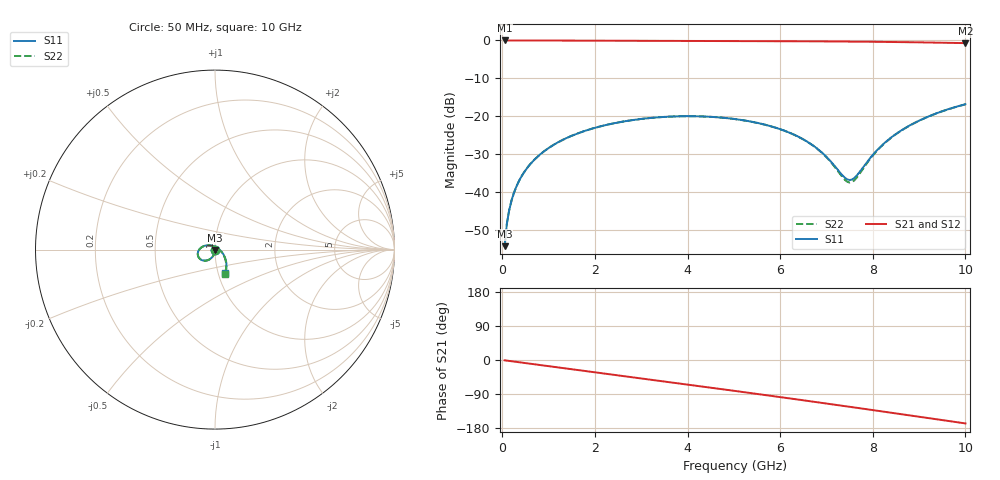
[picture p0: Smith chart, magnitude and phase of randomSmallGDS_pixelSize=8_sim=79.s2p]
! freq	dB(S11)	phase(S11)	dB(S12)	phase(S12)
!  dB(S21)	phase(S21)	dB(S22)	phase(S22)
!S-par simulation data
#  GHz  S  DB  R 50
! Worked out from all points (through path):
!   200 points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, 50 MHz to 10 GHz, reference 50 ohm
!   highest |S21| = 0.00 dB at 50 MHz (marker M1); lowest = -0.7 dB at 10 GHz (marker M2)
!   group delay of S21, straight-line fit = 46.3 ps
!   lowest |S11| = -54.1 dB at 50 MHz (marker M3), VSWR 1.00, Z = 50 - j0.196 ohm
!   |S11| at or under -10 dB: start of sweep to end of sweep
!   |S22| runs from -54.1 to -16.8 dB; largest |S21 - S12| = 0
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0.05  -54.14 -90.4  -0.00 -0.8  -0.00 -0.8  -54.13 -90.4
0.1  -48.12 -91.6  -0.00 -1.7  -0.00 -1.7  -48.11 -91.6
0.15  -44.60 -92.6  -0.01 -2.5  -0.01 -2.5  -44.59 -92.6
0.2  -42.10 -93.6  -0.01 -3.3  -0.01 -3.3  -42.09 -93.5
0.35  -37.24 -96.3  -0.01 -5.7  -0.01 -5.7  -37.24 -96.3
0.5  -34.17 -98.9  -0.01 -8.2  -0.01 -8.2  -34.17 -98.9
0.7  -31.29 -102.3  -0.02 -11.4  -0.02 -11.4  -31.29 -102.3
1  -28.31 -107.3  -0.02 -16.3  -0.02 -16.3  -28.31 -107.3
1.75  -23.94 -119.8  -0.05 -28.4  -0.05 -28.4  -23.94 -119.7
2.5  -21.58 -132.2  -0.07 -40.5  -0.07 -40.5  -21.59 -132.1
3.4  -20.20 -147.2  -0.10 -55.1  -0.10 -55.1  -20.20 -147.1
5.05  -20.73 -176.2  -0.16 -82.0  -0.16 -82.0  -20.73 -176.0
6  -23.34 164.3  -0.19 -97.9  -0.19 -97.9  -23.36 164.8
6.7  -27.55 144.3  -0.23 -109.7  -0.23 -109.7  -27.60 145.4
7  -30.63 129.8  -0.25 -114.8  -0.25 -114.8  -30.75 131.4
7.4  -36.16 83.2  -0.28 -121.7  -0.28 -121.7  -36.71 84.9
7.5  -36.74 61.6  -0.29 -123.5  -0.29 -123.5  -37.41 62.0
7.65  -35.60 29.7  -0.31 -126.1  -0.31 -126.1  -36.16 28.0
8  -30.12 -10.0  -0.35 -132.1  -0.35 -132.1  -30.30 -12.0
8.35  -25.99 -27.1  -0.39 -138.3  -0.39 -138.3  -26.07 -28.6
9.05  -20.82 -47.0  -0.51 -150.6  -0.51 -150.6  -20.85 -48.1
10  -16.79 -66.8  -0.70 -167.4  -0.70 -167.4  -16.81 -67.7
